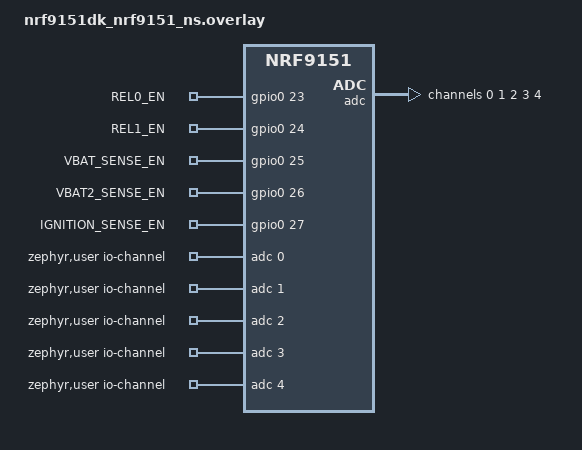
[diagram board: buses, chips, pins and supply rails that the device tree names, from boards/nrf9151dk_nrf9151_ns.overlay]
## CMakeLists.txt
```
#
# Copyright (c) 2023 Nordic Semiconductor ASA
#
# SPDX-License-Identifier: LicenseRef-Nordic-5-Clause
#

cmake_minimum_required(VERSION 3.20.0)

find_package(Zephyr REQUIRED HINTS $ENV{ZEPHYR_BASE})
project(mqtt)

target_sources(app PRIVATE src/main.c src/relays.c src/sense.c src/buttons.c src/gps.c src/battery_monitor.c)
target_include_directories(app PRIVATE src)

# Include files that are common for all modules
add_subdirectory(src/common)

# Include mandatory module source folders
add_subdirectory(src/modules/network)
add_subdirectory(src/modules/transport)
add_subdirectory(src/modules/error)
add_subdirectory(src/modules/fota)
add_subdirectory(src/modules/watchdog)
add_subdirectory(src/modules/button4)

# Optional modules
add_subdirectory_ifdef(CONFIG_MQTT_SAMPLE_LED src/modules/led)
```

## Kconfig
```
#
# Copyright (c) 2023 Nordic Semiconductor ASA
#
# SPDX-License-Identifier: LicenseRef-Nordic-5-Clause
#

menu "MQTT sample"

rsource "src/modules/network/Kconfig.network"
rsource "src/modules/transport/Kconfig.transport"
rsource "src/modules/error/Kconfig.error"
rsource "src/modules/led/Kconfig.led"

endmenu

menu "Zephyr Kernel"
source "Kconfig.zephyr"
endmenu
```

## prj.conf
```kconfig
#
# Copyright (c) 2023 Nordic Semiconductor ASA
#
# SPDX-License-Identifier: LicenseRef-Nordic-5-Clause
#

# Common configurations for all boards

# General
CONFIG_HW_ID_LIBRARY=y
CONFIG_ASSERT=y
CONFIG_REBOOT=y

# ADC
CONFIG_ADC=y

# GPIO + input (buttons via gpio-keys)
CONFIG_GPIO=y
CONFIG_INPUT=y
CONFIG_INPUT_GPIO_KEYS=y

# Logging
CONFIG_LOG=y

# Networking
CONFIG_NETWORKING=y
CONFIG_NET_SOCKETS_OFFLOAD=y
CONFIG_NET_SOCKETS=y
CONFIG_POSIX_API=y
CONFIG_NET_IPV4=y
CONFIG_NET_TCP=y
CONFIG_NET_NATIVE=y
CONFIG_NET_CONNECTION_MANAGER=y
CONFIG_DNS_RESOLVER=y

# ZBus
CONFIG_ZBUS=y

# Persistent storage (relay state across reboots).
# Enabling SETTINGS_NVS makes the partition manager carve a 16 KB
# settings_storage partition out of flash, shrinking both MCUboot slots.
CONFIG_SETTINGS=y
CONFIG_SETTINGS_NVS=y
CONFIG_NVS=y
CONFIG_PM_PARTITION_SIZE_SETTINGS_STORAGE=0x4000

# Zephyr state framework
CONFIG_SMF=y

# Hardware watchdog (reboots if MQTT unreachable for >30 min, or on a hang)
CONFIG_WATCHDOG=y

# MQTT (raw Zephyr MQTT client)
CONFIG_MQTT_LIB=y
CONFIG_MQTT_LIB_TLS=y
CONFIG_MQTT_KEEPALIVE=280
CONFIG_MQTT_CLEAN_SESSION=y

# JSON parsing for inbound commands (payloads are all JSON). Integer-only, so
# no floating-point support needed.
CONFIG_JSON_LIBRARY=y

# TLS credentials
CONFIG_MODEM_KEY_MGMT=y
CONFIG_MQTT_SAMPLE_TRANSPORT_SEC_TAG=955

# Broker hostname and password live in secrets.conf (not in VCS, see
# secrets.conf.example), merged into the build via EXTRA_CONF_FILE.

# Timestamp (kept for log timestamps)
CONFIG_DATE_TIME=y
CONFIG_DATE_TIME_AUTO_UPDATE=y

# AT monitor heap for modem notifications (%XTIME etc.)
CONFIG_AT_MONITOR_HEAP_SIZE=512

# TF-M
CONFIG_TFM_PROFILE_TYPE_MINIMAL=y

# General
CONFIG_HW_STACK_PROTECTION=y
CONFIG_HW_ID_LIBRARY_SOURCE_IMEI=y
CONFIG_PICOLIBC=y
CONFIG_DK_LIBRARY=y

# FPU (required for GNSS distance math)
CONFIG_FPU=y

# Shell
CONFIG_SHELL=y
CONFIG_SHELL_BACKEND_SERIAL=y

# Modem trace
CONFIG_NRF_MODEM_LIB_TRACE=n


# LED
CONFIG_MQTT_SAMPLE_LED=n

# Disable Duplicate Address Detection (DAD)
# due to not being properly implemented for offloaded interfaces.
CONFIG_NET_IPV6_NBR_CACHE=n
CONFIG_NET_IPV6_MLD=n

# Zephyr NET Connection Manager and Connectivity layer.
CONFIG_NET_CONNECTION_MANAGER_MONITOR_STACK_SIZE=1024
CONFIG_NRF_MODEM_LIB_NET_IF=y

# --- Memfault ---
CONFIG_MEMFAULT=y

# Only used for FOTA: disable the hourly metrics/coredump upload over HTTPS
CONFIG_MEMFAULT_HTTP_PERIODIC_UPLOAD=n
# CONFIG_MEMFAULT_NCS_PROJECT_KEY is set in secrets.conf (not in VCS)
CONFIG_MEMFAULT_NCS_DEVICE_ID_HW_ID=y

# Memfault's HTTP/OTA code uses malloc, so a heap is required.
CONFIG_HEAP_MEM_POOL_SIZE=8192

# Modem info library so Memfault can collect LTE metrics
CONFIG_MODEM_INFO=y

# Memfault FOTA over HTTP using the NCS downloader
CONFIG_MEMFAULT_FOTA=y
CONFIG_MEMFAULT_FOTA_CLI_CMD=y

# --- OTA / DFU (NCS >= 3.0 downloader API) ---
CONFIG_DFU_TARGET=y
CONFIG_DFU_TARGET_MCUBOOT=y
CONFIG_IMG_MANAGER=y
CONFIG_FLASH=y
CONFIG_FLASH_MAP=y
CONFIG_STREAM_FLASH=y
CONFIG_IMG_ERASE_PROGRESSIVELY=y

CONFIG_FOTA_DOWNLOAD=y
CONFIG_DOWNLOADER=y
CONFIG_DOWNLOADER_MAX_FILENAME_SIZE=400
CONFIG_DOWNLOADER_STACK_SIZE=1600
CONFIG_FOTA_DOWNLOAD_PROGRESS_EVT=y

# Runtime log level filtering (so we can `log enable dbg mflt` in shell)
CONFIG_LOG_RUNTIME_FILTERING=y

CONFIG_MEMFAULT_NCS_FW_VERSION_STATIC=y
CONFIG_MEMFAULT_NCS_FW_VERSION="2.1.2"
```

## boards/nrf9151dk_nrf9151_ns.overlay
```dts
/*
 * Overlay for the Nordic nRF9151 DK.
 *
 * The DK has none of the AnchorLink carrier-board hardware (relays, sense
 * dividers, current shunts). This overlay only provides the devicetree nodes
 * the application expects so it builds and runs for connectivity testing.
 * The chosen GPIO/ADC pins are arbitrary placeholders — nothing is wired up.
 *
 * Buttons, watchdog0 and the &adc node already exist in the DK board files.
 */

#include <zephyr/dt-bindings/adc/adc.h>
#include <zephyr/dt-bindings/adc/nrf-adc.h>

/ {
	relays {
		compatible = "gpio-leds";
		relay0: relay_0 {
			gpios = <&gpio0 23 GPIO_ACTIVE_HIGH>;
			label = "REL0_EN";
		};
		relay1: relay_1 {
			gpios = <&gpio0 24 GPIO_ACTIVE_HIGH>;
			label = "REL1_EN";
		};
	};

	sense_enables {
		compatible = "gpio-leds";
		vbat_en: vbat_en {
			gpios = <&gpio0 25 GPIO_ACTIVE_HIGH>;
			label = "VBAT_SENSE_EN";
		};
		vbat2_en: vbat2_en {
			gpios = <&gpio0 26 GPIO_ACTIVE_HIGH>;
			label = "VBAT2_SENSE_EN";
		};
		ignition_en: ignition_en {
			gpios = <&gpio0 27 GPIO_ACTIVE_HIGH>;
			label = "IGNITION_SENSE_EN";
		};
	};

	zephyr,user {
		/* ADC channels: 0=REL0_SENSE, 1=REL1_SENSE, 2=VBAT_SENSE, 3=VBAT2_SENSE, 4=IGNITION_SENSE.
		 * button4 reads IGNITION_SENSE; on the DK that is AIN5 (P0.18), a
		 * placeholder — the ~1 V sense circuit only exists on the carrier board. */
		io-channels = <&adc 0>, <&adc 1>, <&adc 2>, <&adc 3>, <&adc 4>;
	};

	aliases {
		relay0 = &relay0;
		relay1 = &relay1;
	};
};

&adc {
	status = "okay";
	#address-cells = <1>;
	#size-cells = <0>;

	channel@0 {
		reg = <0>;
		zephyr,gain = "ADC_GAIN_1_6";
		zephyr,reference = "ADC_REF_INTERNAL";
		zephyr,acquisition-time = <ADC_ACQ_TIME_DEFAULT>;
		zephyr,input-positive = <NRF_SAADC_AIN1>;
		zephyr,resolution = <12>;
		zephyr,oversampling = <8>;
	};

	channel@1 {
		reg = <1>;
		zephyr,gain = "ADC_GAIN_1_6";
		zephyr,reference = "ADC_REF_INTERNAL";
		zephyr,acquisition-time = <ADC_ACQ_TIME_DEFAULT>;
		zephyr,input-positive = <NRF_SAADC_AIN2>;
		zephyr,resolution = <12>;
		zephyr,oversampling = <8>;
	};

	channel@2 {
		reg = <2>;
		zephyr,gain = "ADC_GAIN_1_6";
		zephyr,reference = "ADC_REF_INTERNAL";
		zephyr,acquisition-time = <ADC_ACQ_TIME_DEFAULT>;
		zephyr,input-positive = <NRF_SAADC_AIN3>;
		zephyr,resolution = <12>;
		zephyr,oversampling = <8>;
	};

	channel@3 {
		reg = <3>;
		zephyr,gain = "ADC_GAIN_1_6";
		zephyr,reference = "ADC_REF_INTERNAL";
		zephyr,acquisition-time = <ADC_ACQ_TIME_DEFAULT>;
		zephyr,input-positive = <NRF_SAADC_AIN4>;
		zephyr,resolution = <12>;
		zephyr,oversampling = <8>;
	};

	channel@4 {
		reg = <4>;
		zephyr,gain = "ADC_GAIN_1_6";
		zephyr,reference = "ADC_REF_INTERNAL";
		zephyr,acquisition-time = <ADC_ACQ_TIME_DEFAULT>;
		zephyr,input-positive = <NRF_SAADC_AIN5>;
		zephyr,resolution = <12>;
		zephyr,oversampling = <8>;
	};
};
```

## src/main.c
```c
#include <zephyr/kernel.h>
#include <zephyr/logging/log.h>
#include <zephyr/zbus/zbus.h>
#include <zephyr/drivers/gpio.h>

#include "message_channel.h"
#include "relays.h"
#include "sense.h"
#include "buttons.h"
#include "battery_monitor.h"

LOG_MODULE_REGISTER(main, LOG_LEVEL_INF);

/* P0.14: kept permanently active from boot. */
static const struct gpio_dt_spec ignition_en = GPIO_DT_SPEC_GET(DT_NODELABEL(ignition_en), gpios);

ZBUS_SUBSCRIBER_DEFINE(main_sub, 4);

static void publish_relay_state(uint8_t idx)
{
	struct publish_event ev = {
		.type = PUB_RELAY_STATE,
		.relay = idx,
		.state = relay_get(idx),
	};
	zbus_chan_pub(&PUBLISH_CHAN, &ev, K_SECONDS(1));
}

static void handle_toggle(uint8_t idx)
{
	if (idx >= NUM_RELAYS) {
		return;
	}
	relay_toggle(idx);
	LOG_INF("Relay %d -> %s", idx, relay_get(idx) ? "ON" : "OFF");
	publish_relay_state(idx);
}

static void handle_report_bat(void)
{
	battery_monitor_force_report();
}

static void on_button_pressed(uint8_t idx)
{
	switch (idx) {
	case 0:
		LOG_INF("BTN0 pressed");
		break;
	case 1:
		LOG_INF("BTN1 pressed");
		handle_toggle(0);
		break;
	case 2:
		LOG_INF("BTN2 pressed");
		handle_toggle(1);
		break;
	}
}

static void on_button_long_pressed(uint8_t idx)
{
	if (idx != 0) {
		return;
	}
	LOG_INF("BTN0 long press -> pair");
	struct publish_event ev = { .type = PUB_PAIR };
	zbus_chan_pub(&PUBLISH_CHAN, &ev, K_SECONDS(1));
}

int main(void)
{
	const struct zbus_channel *chan;

	LOG_INF("Boat Monitor starting");
	LOG_INF("Firmware version: %s", CONFIG_MEMFAULT_NCS_FW_VERSION);

	relays_init();
	sense_init();
	buttons_init(on_button_pressed, on_button_long_pressed);

	/* P0.14 stays permanently active. Done after sense_init(), which would
	 * otherwise leave the ignition_en pin inactive. */
	gpio_pin_configure_dt(&ignition_en, GPIO_OUTPUT_ACTIVE);

	while (!zbus_sub_wait(&main_sub, &chan, K_FOREVER)) {
		if (chan != &CMD_CHAN) {
			continue;
		}

		struct command cmd;
		if (zbus_chan_read(&CMD_CHAN, &cmd, K_SECONDS(1))) {
			continue;
		}

		switch (cmd.action) {
		case CMD_TOGGLE_RELAY:
			handle_toggle(cmd.relay);
			break;
		case CMD_REPORT_BAT:
			handle_report_bat();
			break;
		case CMD_REBOOT:
			LOG_INF("Reboot requested via MQTT");
			k_sleep(K_SECONDS(2));
			sys_reboot(SYS_REBOOT_COLD);
			break;
		default:
			/* Other commands handled by other subscribers (gps). */
			break;
		}
	}

	return 0;
}
```

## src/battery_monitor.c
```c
#include <zephyr/kernel.h>
#include <zephyr/logging/log.h>
#include <zephyr/zbus/zbus.h>

#include "message_channel.h"
#include "sense.h"
#include "battery_monitor.h"

LOG_MODULE_REGISTER(battery_monitor, LOG_LEVEL_INF);

#define NUM_BATTERIES 2

static const enum sense_channel bat_channel[NUM_BATTERIES] = {
	SENSE_VBAT,
	SENSE_VBAT2,
};

void battery_monitor_force_report(void)
{
	float v[NUM_BATTERIES] = {0};
	for (int i = 0; i < NUM_BATTERIES; i++) {
		if (sense_read_v(bat_channel[i], &v[i])) {
			return;
		}
	}

	LOG_INF("bat report %d / %d mV",
		(int)(v[0] * 1000.0f), (int)(v[1] * 1000.0f));

	struct publish_event ev = {
		.type   = PUB_BAT_REPORT,
		.bat1_v = v[0],
		.bat2_v = v[1],
	};
	zbus_chan_pub(&PUBLISH_CHAN, &ev, K_SECONDS(1));
}
```

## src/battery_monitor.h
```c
#ifndef BATTERY_MONITOR_H_
#define BATTERY_MONITOR_H_

void battery_monitor_init(void);

/* Read both batteries and publish a PUB_BAT_REPORT now. */
void battery_monitor_force_report(void);

#endif /* BATTERY_MONITOR_H_ */
```

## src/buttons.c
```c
#include <zephyr/kernel.h>
#include <zephyr/input/input.h>
#include <zephyr/logging/log.h>

#include "buttons.h"

LOG_MODULE_REGISTER(buttons, LOG_LEVEL_INF);

#define LONG_PRESS_MS 3000

static button_pressed_cb_t pressed_cb;
static button_long_pressed_cb_t long_pressed_cb;

static uint8_t long_press_idx;

static void long_press_handler(struct k_work *work)
{
	ARG_UNUSED(work);
	if (long_pressed_cb) {
		long_pressed_cb(long_press_idx);
	}
}

static K_WORK_DELAYABLE_DEFINE(long_press_work, long_press_handler);

static int code_to_idx(uint16_t code)
{
	switch (code) {
	case INPUT_KEY_0: return 0;
	case INPUT_KEY_1: return 1;
	case INPUT_KEY_2: return 2;
	default: return -1;
	}
}

static void input_event_cb(struct input_event *evt, void *user_data)
{
	if (evt->type != INPUT_EV_KEY) {
		return;
	}

	int idx = code_to_idx(evt->code);
	if (idx < 0) {
		return;
	}

	if (evt->value) {
		if (idx == 0) {
			long_press_idx = idx;
			k_work_reschedule(&long_press_work, K_MSEC(LONG_PRESS_MS));
		}
		if (pressed_cb) {
			pressed_cb(idx);
		}
	} else {
		if (idx == 0) {
			k_work_cancel_delayable(&long_press_work);
		}
	}
}

INPUT_CALLBACK_DEFINE(NULL, input_event_cb, NULL);

int buttons_init(button_pressed_cb_t cb, button_long_pressed_cb_t long_cb)
{
	pressed_cb = cb;
	long_pressed_cb = long_cb;
	LOG_INF("Buttons initialized");
	return 0;
}
```

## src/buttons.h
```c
#ifndef _BUTTONS_H_
#define _BUTTONS_H_

#include <stdint.h>

#define NUM_BUTTONS 3

typedef void (*button_pressed_cb_t)(uint8_t idx);
typedef void (*button_long_pressed_cb_t)(uint8_t idx);

int buttons_init(button_pressed_cb_t cb, button_long_pressed_cb_t long_cb);

#endif /* _BUTTONS_H_ */
```

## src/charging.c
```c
#include <zephyr/kernel.h>
#include <zephyr/logging/log.h>
#include <zephyr/zbus/zbus.h>

#include "message_channel.h"
#include "sense.h"
#include "charging.h"

LOG_MODULE_REGISTER(charging, LOG_LEVEL_INF);

#define SAMPLE_INTERVAL_SECONDS  10
/* Hysteresis around the 12 V resting voltage of a lead-acid battery: above
 * 13.0 V we consider it charging, below 12.8 V we consider it not charging,
 * in between we keep the previous state. */
#define CHARGING_ON_V   13.0f
#define CHARGING_OFF_V  12.8f

#define NUM_BATTERIES 2

static bool charging_state[NUM_BATTERIES];
static bool charging_known[NUM_BATTERIES];

static const enum sense_channel bat_channel[NUM_BATTERIES] = {
	SENSE_VBAT,
	SENSE_VBAT2,
};

static void charging_work_fn(struct k_work *work);
static K_WORK_DELAYABLE_DEFINE(charging_work, charging_work_fn);

bool charging_get(uint8_t idx)
{
	return idx < NUM_BATTERIES && charging_state[idx];
}

static bool decide(bool prev, bool known, float volts)
{
	if (volts > CHARGING_ON_V) {
		return true;
	}
	if (volts < CHARGING_OFF_V) {
		return false;
	}
	return known ? prev : false;
}

static void publish_charging(uint8_t idx, bool state)
{
	struct publish_event ev = {
		.type = PUB_CHARGING,
		.battery = idx,
		.charging = state,
	};
	zbus_chan_pub(&PUBLISH_CHAN, &ev, K_SECONDS(1));
}

static void measure_one(uint8_t idx)
{
	float v = 0.0f;
	if (sense_read_v(bat_channel[idx], &v)) {
		return;
	}

	bool prev = charging_state[idx];
	bool known = charging_known[idx];
	bool now = decide(prev, known, v);

	if (!known || now != prev) {
		charging_state[idx] = now;
		charging_known[idx] = true;
		LOG_INF("bat%u %s (%d mV)",
			(unsigned)(idx + 1),
			now ? "charging" : "not charging",
			(int)(v * 1000.0f));
		publish_charging(idx, now);
	}
}

static void charging_work_fn(struct k_work *work)
{
	ARG_UNUSED(work);

	for (uint8_t i = 0; i < NUM_BATTERIES; i++) {
		measure_one(i);
	}
	k_work_schedule(&charging_work, K_SECONDS(SAMPLE_INTERVAL_SECONDS));
}

void charging_init(void)
{
	/* First sample shortly after boot, after sense init has settled. */
	k_work_schedule(&charging_work, K_SECONDS(2));
}
```

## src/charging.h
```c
#ifndef CHARGING_H_
#define CHARGING_H_

#include <stdbool.h>
#include <stdint.h>

void charging_init(void);

/* Latest known charging state for battery idx (0 or 1). False if unknown. */
bool charging_get(uint8_t idx);

#endif /* CHARGING_H_ */
```

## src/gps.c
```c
#include <zephyr/kernel.h>
#include <zephyr/logging/log.h>
#include <zephyr/zbus/zbus.h>
#include <zephyr/shell/shell.h>
#include <stdlib.h>
#include <math.h>

#include <nrf_modem.h>
#include <nrf_modem_gnss.h>
#include <modem/lte_lc.h>

#include "message_channel.h"

LOG_MODULE_REGISTER(gps, LOG_LEVEL_INF);

#ifndef M_PI
#define M_PI 3.14159265358979323846
#endif

#define EARTH_RADIUS_M             6371000.0
#define GPS_FIX_RETRY_SECONDS      600
#define ANCHOR_CHECK_INTERVAL_SEC  30

ZBUS_SUBSCRIBER_DEFINE(gps_sub, 4);

enum gps_mode {
	GPS_IDLE,
	GPS_FIX_REQUESTED,
	GPS_ANCHOR_ACQUIRING,
	GPS_ANCHOR_MONITORING,
};

static enum gps_mode mode = GPS_IDLE;
static double anchor_lat;
static double anchor_lon;
static uint32_t anchor_radius_m;
static bool gnss_configured;

/* Latest PVT snapshot for status / diagnostics. */
static uint8_t last_tracked;
static uint8_t last_in_fix;
static bool last_blocked;

/* Deferred handling of GNSS events (event callback runs in a small modem
 * thread context — keep it minimal). */
static double pending_fix_lat;
static double pending_fix_lon;
static atomic_t pending_fix_flag;
static atomic_t pending_timeout_flag;
static void gnss_evt_work_fn(struct k_work *work);
static K_WORK_DEFINE(gnss_evt_work, gnss_evt_work_fn);

static void anchor_recheck_work_fn(struct k_work *work);
static K_WORK_DELAYABLE_DEFINE(anchor_recheck_work, anchor_recheck_work_fn);

static double distance_m(double lat1, double lon1, double lat2, double lon2)
{
	double dlat = (lat2 - lat1) * M_PI / 180.0;
	double dlon = (lon2 - lon1) * M_PI / 180.0;
	double a = sin(dlat / 2) * sin(dlat / 2) +
		   cos(lat1 * M_PI / 180.0) * cos(lat2 * M_PI / 180.0) *
			   sin(dlon / 2) * sin(dlon / 2);
	double c = 2.0 * asin(sqrt(a));
	return EARTH_RADIUS_M * c;
}

static void publish_gps(double lat, double lon)
{
	struct publish_event ev = {
		.type = PUB_GPS,
		.latitude = lat,
		.longitude = lon,
	};
	zbus_chan_pub(&PUBLISH_CHAN, &ev, K_SECONDS(1));
}

static void publish_anchor_alarm(double lat, double lon, uint32_t dist)
{
	struct publish_event ev = {
		.type = PUB_ANCHOR_ALARM,
		.latitude = lat,
		.longitude = lon,
		.distance_m = dist,
	};
	zbus_chan_pub(&PUBLISH_CHAN, &ev, K_SECONDS(1));
}

static int gnss_start_fix(void)
{
	if (nrf_modem_gnss_fix_interval_set(0) != 0) {
		return -1;
	}
	if (nrf_modem_gnss_fix_retry_set(GPS_FIX_RETRY_SECONDS) != 0) {
		return -1;
	}
	return nrf_modem_gnss_start();
}

static void anchor_recheck_work_fn(struct k_work *work)
{
	ARG_UNUSED(work);

	if (mode != GPS_ANCHOR_MONITORING) {
		return;
	}

	LOG_INF("Anchor: re-checking GPS");
	if (gnss_start_fix() != 0) {
		LOG_ERR("Failed to start GNSS for anchor recheck");
		k_work_schedule(&anchor_recheck_work,
				K_SECONDS(ANCHOR_CHECK_INTERVAL_SEC));
	}
}

static void on_fix(double lat, double lon)
{
	nrf_modem_gnss_stop();

	switch (mode) {
	case GPS_FIX_REQUESTED:
		publish_gps(lat, lon);
		mode = GPS_IDLE;
		break;

	case GPS_ANCHOR_ACQUIRING:
		anchor_lat = lat;
		anchor_lon = lon;
		publish_gps(lat, lon);
		mode = GPS_ANCHOR_MONITORING;
		LOG_INF("Anchor set, radius %u m", anchor_radius_m);
		k_work_schedule(&anchor_recheck_work,
				K_SECONDS(ANCHOR_CHECK_INTERVAL_SEC));
		break;

	case GPS_ANCHOR_MONITORING: {
		double d = distance_m(lat, lon, anchor_lat, anchor_lon);
		LOG_INF("Anchor: distance %d m (limit %u)",
			(int)d, anchor_radius_m);
		if (d > (double)anchor_radius_m) {
			LOG_WRN("Anchor alarm triggered (%d m)", (int)d);
			publish_anchor_alarm(lat, lon, (uint32_t)d);
			mode = GPS_IDLE;
		} else {
			k_work_schedule(&anchor_recheck_work,
					K_SECONDS(ANCHOR_CHECK_INTERVAL_SEC));
		}
		break;
	}

	default:
		break;
	}
}

static void on_fix_timeout(void)
{
	LOG_WRN("GNSS fix timeout");
	nrf_modem_gnss_stop();

	if (mode == GPS_ANCHOR_MONITORING) {
		k_work_schedule(&anchor_recheck_work,
				K_SECONDS(ANCHOR_CHECK_INTERVAL_SEC));
	} else if (mode == GPS_ANCHOR_ACQUIRING) {
		LOG_WRN("Anchor acquire failed; clearing alarm");
		mode = GPS_IDLE;
	} else {
		mode = GPS_IDLE;
	}
}

static void update_pvt_stats(struct nrf_modem_gnss_pvt_data_frame *pvt)
{
	uint8_t tracked = 0;
	uint8_t in_fix = 0;

	for (int i = 0; i < NRF_MODEM_GNSS_MAX_SATELLITES; i++) {
		if (pvt->sv[i].sv > 0) {
			tracked++;
			if (pvt->sv[i].flags & NRF_MODEM_GNSS_SV_FLAG_USED_IN_FIX) {
				in_fix++;
			}
		}
	}
	last_tracked = tracked;
	last_in_fix = in_fix;
}

/* Runs in the system workqueue — safe to publish on zbus, stop GNSS, etc. */
static void gnss_evt_work_fn(struct k_work *work)
{
	ARG_UNUSED(work);

	if (atomic_cas(&pending_fix_flag, 1, 0)) {
		on_fix(pending_fix_lat, pending_fix_lon);
	}
	if (atomic_cas(&pending_timeout_flag, 1, 0)) {
		on_fix_timeout();
	}
}

/* Event handler runs in the modem callback context (small stack). Keep it
 * minimal: only read PVT and defer heavy work to the system workqueue.
 */
static void gnss_event_handler(int event)
{
	struct nrf_modem_gnss_pvt_data_frame pvt;

	switch (event) {
	case NRF_MODEM_GNSS_EVT_PVT:
		if (nrf_modem_gnss_read(&pvt, sizeof(pvt),
					NRF_MODEM_GNSS_DATA_PVT) == 0) {
			update_pvt_stats(&pvt);
		}
		break;
	case NRF_MODEM_GNSS_EVT_FIX:
		if (nrf_modem_gnss_read(&pvt, sizeof(pvt),
					NRF_MODEM_GNSS_DATA_PVT) == 0) {
			update_pvt_stats(&pvt);
			pending_fix_lat = pvt.latitude;
			pending_fix_lon = pvt.longitude;
			atomic_set(&pending_fix_flag, 1);
			k_work_submit(&gnss_evt_work);
		}
		break;
	case NRF_MODEM_GNSS_EVT_SLEEP_AFTER_TIMEOUT:
		atomic_set(&pending_timeout_flag, 1);
		k_work_submit(&gnss_evt_work);
		break;
	case NRF_MODEM_GNSS_EVT_BLOCKED:
		last_blocked = true;
		break;
	case NRF_MODEM_GNSS_EVT_UNBLOCKED:
		last_blocked = false;
		break;
	default:
		break;
	}
}

static int gnss_configure(void)
{
	if (gnss_configured) {
		return 0;
	}
	/* Activate GNSS in the modem functional mode (LTE stays up alongside). */
	int err = lte_lc_func_mode_set(LTE_LC_FUNC_MODE_ACTIVATE_GNSS);
	if (err) {
		LOG_ERR("Failed to activate GNSS functional mode: %d", err);
		return -1;
	}
	if (nrf_modem_gnss_event_handler_set(gnss_event_handler) != 0) {
		LOG_ERR("Failed to set GNSS event handler");
		return -1;
	}
	if (nrf_modem_gnss_use_case_set(
		    NRF_MODEM_GNSS_USE_CASE_MULTIPLE_HOT_START) != 0) {
		LOG_WRN("Failed to set GNSS use case");
	}
	gnss_configured = true;
	LOG_INF("GNSS configured");
	return 0;
}

static void anchor_clear(void)
{
	k_work_cancel_delayable(&anchor_recheck_work);
	if (mode == GPS_ANCHOR_ACQUIRING || mode == GPS_ANCHOR_MONITORING) {
		nrf_modem_gnss_stop();
	}
	mode = GPS_IDLE;
}

static void handle_gps_request(void)
{
	if (gnss_configure() != 0) {
		return;
	}
	if (mode != GPS_IDLE) {
		LOG_WRN("GPS busy (mode=%d), ignoring request", mode);
		return;
	}
	mode = GPS_FIX_REQUESTED;
	if (gnss_start_fix() != 0) {
		LOG_ERR("Failed to start GNSS");
		mode = GPS_IDLE;
	}
}

static void handle_anchor_alarm(uint32_t radius_m)
{
	if (radius_m == 0) {
		LOG_INF("Anchor alarm cleared");
		anchor_clear();
		return;
	}
	if (gnss_configure() != 0) {
		return;
	}
	anchor_clear();
	anchor_radius_m = radius_m;
	mode = GPS_ANCHOR_ACQUIRING;
	if (gnss_start_fix() != 0) {
		LOG_ERR("Failed to start GNSS for anchor");
		mode = GPS_IDLE;
	}
}

static void gps_thread(void)
{
	const struct zbus_channel *chan;

	while (!nrf_modem_is_initialized()) {
		k_msleep(200);
	}

	while (!zbus_sub_wait(&gps_sub, &chan, K_FOREVER)) {
		if (chan != &CMD_CHAN) {
			continue;
		}
		struct command cmd;
		if (zbus_chan_read(&CMD_CHAN, &cmd, K_SECONDS(1))) {
			continue;
		}
		switch (cmd.action) {
		case CMD_REQUEST_GPS:
			handle_gps_request();
			break;
		case CMD_SET_ANCHOR_ALARM:
			handle_anchor_alarm(cmd.distance_m);
			break;
		default:
			break;
		}
	}
}

K_THREAD_DEFINE(gps_thread_id, 2048, gps_thread, NULL, NULL, NULL, 5, 0, 0);

/* ------------------------------------------------------------------ */
/* Shell commands — same actions the MQTT cmd topic dispatches.       */
/* ------------------------------------------------------------------ */

static void shell_dispatch(struct command *cmd)
{
	int err = zbus_chan_pub(&CMD_CHAN, cmd, K_SECONDS(1));
	if (err) {
		LOG_ERR("zbus_chan_pub failed: %d", err);
	}
}

static int cmd_gps_fix(const struct shell *sh, size_t argc, char **argv)
{
	ARG_UNUSED(argc);
	ARG_UNUSED(argv);

	struct command cmd = { .action = CMD_REQUEST_GPS };
	shell_dispatch(&cmd);
	shell_print(sh, "GPS fix requested");
	return 0;
}

static int cmd_gps_anchor(const struct shell *sh, size_t argc, char **argv)
{
	if (argc != 2) {
		shell_error(sh, "usage: gps anchor <meters>  (0 to cancel)");
		return -EINVAL;
	}
	long radius = strtol(argv[1], NULL, 10);
	if (radius < 0) {
		shell_error(sh, "radius must be >= 0");
		return -EINVAL;
	}

	struct command cmd = {
		.action = CMD_SET_ANCHOR_ALARM,
		.distance_m = (uint32_t)radius,
	};
	shell_dispatch(&cmd);
	if (radius == 0) {
		shell_print(sh, "Anchor alarm cleared");
	} else {
		shell_print(sh, "Anchor alarm set, radius %ld m", radius);
	}
	return 0;
}

static int cmd_gps_status(const struct shell *sh, size_t argc, char **argv)
{
	ARG_UNUSED(argc);
	ARG_UNUSED(argv);

	const char *mode_str;
	switch (mode) {
	case GPS_IDLE:               mode_str = "idle"; break;
	case GPS_FIX_REQUESTED:      mode_str = "fix-requested"; break;
	case GPS_ANCHOR_ACQUIRING:   mode_str = "anchor-acquiring"; break;
	case GPS_ANCHOR_MONITORING:  mode_str = "anchor-monitoring"; break;
	default:                     mode_str = "?"; break;
	}
	shell_print(sh, "mode:           %s", mode_str);
	shell_print(sh, "tracked sats:   %u", last_tracked);
	shell_print(sh, "sats used:      %u", last_in_fix);
	shell_print(sh, "blocked by LTE: %s", last_blocked ? "yes" : "no");
	if (mode == GPS_ANCHOR_MONITORING) {
		shell_print(sh, "anchor radius:  %u m", anchor_radius_m);
	}
	return 0;
}

SHELL_STATIC_SUBCMD_SET_CREATE(gps_cmds,
	SHELL_CMD(fix,    NULL, "Request a single GPS fix",            cmd_gps_fix),
	SHELL_CMD(anchor, NULL, "Set/clear anchor alarm: anchor <m>",  cmd_gps_anchor),
	SHELL_CMD(status, NULL, "Show current GPS module state",       cmd_gps_status),
	SHELL_SUBCMD_SET_END
);

SHELL_CMD_REGISTER(gps, &gps_cmds, "GPS commands", NULL);
```

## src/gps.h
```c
#ifndef GPS_H_
#define GPS_H_

void gps_init(void);

#endif /* GPS_H_ */
```

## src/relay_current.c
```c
/*
 * Per-relay current measurement.
 *
 * The 10 mOhm shunt sits between battery 1 and the relay output. The shunt's
 * high side is V_bat1; the low side is what REL{0,1}_SENSE measures via its
 * own divider. With the relay closed:
 *
 *     I = (V_bat1 - V_relayX) / R_shunt
 *
 * Both ends are sensed through hardware dividers; sense_read_v() already
 * applies the divider scale, so we work in actual volts here.
 *
 * Sampling cadence: every 10 s while a relay is on. Once per hour (UTC,
 * aligned to top of hour) we publish the running average and the most recent
 * sample on {imei}/relay{x}/current_h, then reset the accumulator.
 */

#include <zephyr/kernel.h>
#include <zephyr/logging/log.h>
#include <zephyr/zbus/zbus.h>

#include <date_time.h>

#include "message_channel.h"
#include "relays.h"
#include "sense.h"
#include "relay_current.h"

LOG_MODULE_REGISTER(relay_current, LOG_LEVEL_INF);

#define R_SHUNT_OHM     0.01f
#define SAMPLE_PERIOD_S 10

struct accumulator {
	float sum_a;
	uint32_t count;
	float latest_a;
	bool have_latest;
};

static struct accumulator acc[NUM_RELAYS];

static void sample_work_fn(struct k_work *work);
static K_WORK_DELAYABLE_DEFINE(sample_work, sample_work_fn);

static void hourly_work_fn(struct k_work *work);
static K_WORK_DELAYABLE_DEFINE(hourly_work, hourly_work_fn);

static enum sense_channel relay_sense_channel(uint8_t idx)
{
	return (idx == 0) ? SENSE_REL0 : SENSE_REL1;
}

static void sample_work_fn(struct k_work *work)
{
	ARG_UNUSED(work);

	float v_bat = 0.0f;
	bool have_vbat = false;

	for (uint8_t i = 0; i < NUM_RELAYS; i++) {
		if (!relay_get(i)) {
			continue;
		}

		if (!have_vbat) {
			if (sense_read_v(SENSE_VBAT, &v_bat)) {
				LOG_WRN("VBAT read failed");
				break;
			}
			have_vbat = true;
		}

		float v_rel = 0.0f;
		if (sense_read_v(relay_sense_channel(i), &v_rel)) {
			LOG_WRN("rel%u sense read failed", i);
			continue;
		}

		float current = (v_bat - v_rel) / R_SHUNT_OHM;
		if (current < 0.0f) {
			current = 0.0f;
		}

		acc[i].sum_a += current;
		acc[i].count++;
		acc[i].latest_a = current;
		acc[i].have_latest = true;

		LOG_DBG("rel%u I = %d mA (vbat=%dmV vrel=%dmV)", i,
			(int)(current * 1000.0f),
			(int)(v_bat * 1000.0f),
			(int)(v_rel * 1000.0f));
	}

	k_work_reschedule(&sample_work, K_SECONDS(SAMPLE_PERIOD_S));
}

static void publish_one(uint8_t idx)
{
	if (!acc[idx].have_latest || acc[idx].count == 0) {
		return;
	}

	struct publish_event ev = {
		.type = PUB_RELAY_CURRENT,
		.relay = idx,
		.current_avg_a = acc[idx].sum_a / (float)acc[idx].count,
		.current_latest_a = acc[idx].latest_a,
	};
	zbus_chan_pub(&PUBLISH_CHAN, &ev, K_SECONDS(1));

	acc[idx].sum_a = 0.0f;
	acc[idx].count = 0;
	acc[idx].have_latest = false;
}

static void hourly_work_fn(struct k_work *work)
{
	ARG_UNUSED(work);

	int64_t now_ms;
	int err = date_time_now(&now_ms);
	if (err) {
		k_work_reschedule(&hourly_work, K_SECONDS(60));
		return;
	}

	int64_t past_hour = (now_ms / 1000) % 3600;

	if (past_hour < 5) {
		LOG_INF("Hourly relay-current report");
		for (uint8_t i = 0; i < NUM_RELAYS; i++) {
			publish_one(i);
		}
	}

	k_work_reschedule(&hourly_work, K_SECONDS(3600 - past_hour));
}

void relay_current_init(void)
{
	k_work_reschedule(&sample_work, K_SECONDS(SAMPLE_PERIOD_S));
	k_work_reschedule(&hourly_work, K_SECONDS(60));
}
```

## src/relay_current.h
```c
#ifndef _RELAY_CURRENT_H_
#define _RELAY_CURRENT_H_

void relay_current_init(void);

#endif /* _RELAY_CURRENT_H_ */
```

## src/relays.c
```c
#include <zephyr/kernel.h>
#include <zephyr/drivers/gpio.h>
#include <zephyr/logging/log.h>
#include <zephyr/settings/settings.h>

#include "relays.h"

LOG_MODULE_REGISTER(relays, LOG_LEVEL_INF);

#define RELAY_STATE_KEY "relays/state"

static const struct gpio_dt_spec relays[NUM_RELAYS] = {
	GPIO_DT_SPEC_GET(DT_ALIAS(relay0), gpios),
	GPIO_DT_SPEC_GET(DT_ALIAS(relay1), gpios),
};

static bool relay_state[NUM_RELAYS];

/* Both relay states are packed into one byte (bit i = relay i) so a save is a
 * single NVS write. */
static int relays_settings_set(const char *name, size_t len,
			       settings_read_cb read_cb, void *cb_arg)
{
	if (settings_name_steq(name, "state", NULL)) {
		uint8_t mask = 0;
		if (read_cb(cb_arg, &mask, sizeof(mask)) > 0) {
			for (int i = 0; i < NUM_RELAYS; i++) {
				relay_state[i] = (mask >> i) & 1;
			}
		}
		return 0;
	}
	return -ENOENT;
}

SETTINGS_STATIC_HANDLER_DEFINE(relays, "relays", NULL, relays_settings_set, NULL, NULL);

static void relays_save(void)
{
	uint8_t mask = 0;
	for (int i = 0; i < NUM_RELAYS; i++) {
		if (relay_state[i]) {
			mask |= BIT(i);
		}
	}
	int err = settings_save_one(RELAY_STATE_KEY, &mask, sizeof(mask));
	if (err) {
		LOG_ERR("Failed to save relay state: %d", err);
	}
}

int relays_init(void)
{
	/* Restore the saved relay state before driving the outputs, so the
	 * relays come back in the same position after a reboot. */
	settings_subsys_init();
	settings_load_subtree("relays");

	for (int i = 0; i < NUM_RELAYS; i++) {
		if (!gpio_is_ready_dt(&relays[i])) {
			LOG_ERR("Relay %d GPIO not ready", i);
			return -ENODEV;
		}
		int err = gpio_pin_configure_dt(&relays[i],
			relay_state[i] ? GPIO_OUTPUT_ACTIVE : GPIO_OUTPUT_INACTIVE);
		if (err) {
			return err;
		}
	}

	LOG_INF("Relays initialized (relay0=%d relay1=%d)",
		relay_state[0], relay_state[1]);
	return 0;
}

int relay_set(uint8_t idx, bool on)
{
	if (idx >= NUM_RELAYS) {
		return -EINVAL;
	}
	int err = gpio_pin_set_dt(&relays[idx], on);
	if (!err && relay_state[idx] != on) {
		relay_state[idx] = on;
		relays_save();
	}
	return err;
}

bool relay_get(uint8_t idx)
{
	if (idx >= NUM_RELAYS) {
		return false;
	}
	return relay_state[idx];
}

int relay_toggle(uint8_t idx)
{
	if (idx >= NUM_RELAYS) {
		return -EINVAL;
	}
	return relay_set(idx, !relay_state[idx]);
}
```

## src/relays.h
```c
#ifndef _RELAYS_H_
#define _RELAYS_H_

#include <zephyr/drivers/gpio.h>

#define NUM_RELAYS 2

int relays_init(void);
int relay_set(uint8_t idx, bool on);
bool relay_get(uint8_t idx);
int relay_toggle(uint8_t idx);

#endif /* _RELAYS_H_ */
```
